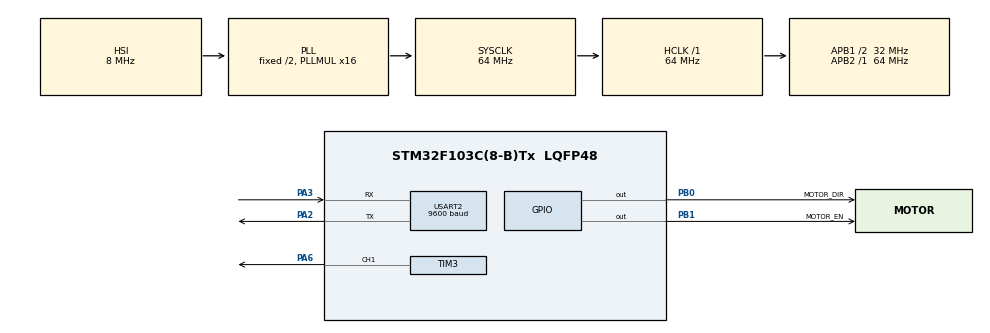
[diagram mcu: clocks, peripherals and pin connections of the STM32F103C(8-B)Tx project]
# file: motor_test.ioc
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Mcu.Family=STM32F1
Mcu.Name=STM32F103C(8-B)Tx
Mcu.Package=LQFP48
NVIC.PriorityGroup=NVIC_PRIORITYGROUP_4
NVIC.TIM3_IRQn=true\:0\:0\:false\:false\:true\:true\:true\:true
NVIC.USART2_IRQn=true\:0\:0\:false\:false\:true\:true\:true\:true
PA13.Mode=Serial_Wire
PA13.Signal=SYS_JTMS-SWDIO
PA14.Mode=Serial_Wire
PA14.Signal=SYS_JTCK-SWCLK
PA2.Mode=Asynchronous
PA2.Signal=USART2_TX
PA3.Mode=Asynchronous
PA3.Signal=USART2_RX
PA6.Signal=S_TIM3_CH1
PB0.GPIO_Label=MOTOR_DIR
PB0.Signal=GPIO_Output
PB1.GPIO_Label=MOTOR_EN
PB1.PinState=GPIO_PIN_SET
PB1.Signal=GPIO_Output
ProjectManager.HeapSize=0x200
ProjectManager.StackSize=0x400
ProjectManager.TargetToolchain=MDK-ARM V5
RCC.AHBFreq_Value=64000000
RCC.APB1CLKDivider=RCC_HCLK_DIV2
RCC.APB1Freq_Value=32000000
RCC.APB1TimFreq_Value=64000000
RCC.APB2Freq_Value=64000000
RCC.APB2TimFreq_Value=64000000
RCC.HCLKFreq_Value=64000000
RCC.PLLMUL=RCC_PLL_MUL16
RCC.SYSCLKFreq_VALUE=64000000
RCC.SYSCLKSource=RCC_SYSCLKSOURCE_PLLCLK
RCC.USBFreq_Value=64000000
SH.S_TIM3_CH1.0=TIM3_CH1,PWM Generation1 CH1
TIM3.AutoReloadPreload=TIM_AUTORELOAD_PRELOAD_ENABLE
TIM3.Channel-PWM\ Generation1\ CH1=TIM_CHANNEL_1
TIM3.Period=1999
TIM3.Prescaler=63
TIM3.Pulse-PWM\ Generation1\ CH1=1000
USART2.BaudRate=9600
USART2.VirtualMode=VM_ASYNC
VP_TIM3_VS_ClockSourceINT.Mode=Internal
board=custom

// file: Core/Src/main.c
/* USER CODE BEGIN Header */
/**
  ******************************************************************************
  * @file           : main.c
  * @brief          : Main program body
  ******************************************************************************
  * @attention
  *
  * Copyright (c) 2026 STMicroelectronics.
  * All rights reserved.
  *
  * This software is licensed under terms that can be found in the LICENSE file
  * in the root directory of this software component.
  * If no LICENSE file comes with this software, it is provided AS-IS.
  *
  ******************************************************************************
  */
/* USER CODE END Header */
#include "main.h"
#include "tim.h"
#include "usart.h"
#include "gpio.h"

/* USER CODE BEGIN PD */

/* Most 42 mm stepper motors are 1.8 degrees: 200 full steps per revolution. */
#define MOTOR_FULL_STEPS_PER_REV      200U

/* This value must match the microstep setting in the X42_V1.3 driver menu. */
#define MOTOR_MICROSTEPS              16U
#define MOTOR_PULSES_PER_REV          (MOTOR_FULL_STEPS_PER_REV * MOTOR_MICROSTEPS)

/* COM is connected to 3.3 V, so EN is treated as active-low here. */
#define MOTOR_ENABLE_LEVEL            GPIO_PIN_RESET
#define MOTOR_DISABLE_LEVEL           GPIO_PIN_SET
#define MOTOR_DIRECTION_CW            GPIO_PIN_RESET
#define MOTOR_DIRECTION_CCW           GPIO_PIN_SET

/* Car -> gimbal frame: AA 55 02 command parked checksum. */
#define HC12_FRAME_HEADER_1            0xAAU
#define HC12_FRAME_HEADER_2            0x55U
#define HC12_FRAME_TYPE_CAR_STOPPED    0x02U
#define HC12_CAR_PARKED_FLAG           0x01U

/* USER CODE END PD */

/* USER CODE BEGIN PV */

static volatile uint32_t motor_pulses_remaining = 0U;
static volatile uint8_t motor_is_busy = 0U;

static volatile uint8_t hc12_rx_byte = 0U;
static volatile uint8_t hc12_rx_state = 0U;
static volatile uint8_t hc12_rx_command = 0U;
static volatile uint8_t hc12_rx_parked = 0U;

/* These counters can be watched in the debugger during radio testing. */
volatile uint32_t hc12_rx_byte_count = 0U;
volatile uint32_t hc12_valid_frame_count = 0U;
volatile uint32_t hc12_bad_frame_count = 0U;

/* Only the first valid parking event is executed. The car repeats its frame
 * ten times, so latching is required to prevent ten consecutive rotations. */
static volatile uint32_t gimbal_target_degrees = 0U;
static volatile uint8_t gimbal_start_pending = 0U;
static volatile uint8_t gimbal_command_latched = 0U;
volatile uint8_t gimbal_motion_complete = 0U;

/* USER CODE END PV */

void SystemClock_Config(void);
/* USER CODE BEGIN PFP */

static void Stepper_Enable(void);
static void Stepper_Disable(void);
static void Stepper_MoveDegrees(uint32_t degrees, GPIO_PinState direction);
static void HC12_ParseByte(uint8_t data);

/* USER CODE END PFP */

/* USER CODE BEGIN 0 */

static void Stepper_Enable(void)
{
  HAL_GPIO_WritePin(MOTOR_EN_GPIO_Port, MOTOR_EN_Pin, MOTOR_ENABLE_LEVEL);
}

static void Stepper_Disable(void)
{
  (void)HAL_TIM_PWM_Stop_IT(&htim3, TIM_CHANNEL_1);
  HAL_GPIO_WritePin(MOTOR_EN_GPIO_Port, MOTOR_EN_Pin, MOTOR_DISABLE_LEVEL);
}

static void Stepper_MoveDegrees(uint32_t degrees, GPIO_PinState direction)
{
  uint32_t pulse_count;

  if (degrees == 0U)
  {
    return;
  }

  /* Round to the nearest pulse instead of truncating the requested angle. */
  pulse_count = ((degrees * MOTOR_PULSES_PER_REV) + 180U) / 360U;
  if (pulse_count == 0U)
  {
    pulse_count = 1U;
  }

  HAL_GPIO_WritePin(MOTOR_DIR_GPIO_Port, MOTOR_DIR_Pin, direction);
  HAL_Delay(1U); /* Allow DIR to become stable before the first STP edge. */

  motor_pulses_remaining = pulse_count;
  motor_is_busy = 1U;

  __HAL_TIM_SET_COUNTER(&htim3, 0U);
  __HAL_TIM_CLEAR_FLAG(&htim3, TIM_FLAG_CC1 | TIM_FLAG_UPDATE);

  if (HAL_TIM_PWM_Start_IT(&htim3, TIM_CHANNEL_1) != HAL_OK)
  {
    motor_is_busy = 0U;
    Error_Handler();
  }

  /* The PWM interrupt stops TIM3 after the requested number of pulses. */
  while (motor_is_busy != 0U)
  {
  }
}

static void HC12_ParseByte(uint8_t data)
{
  uint8_t checksum;

  hc12_rx_byte_count++;

  switch (hc12_rx_state)
  {
    case 0U:
      if (data == HC12_FRAME_HEADER_1)
      {
        hc12_rx_state = 1U;
      }
      break;

    case 1U:
      if (data == HC12_FRAME_HEADER_2)
      {
        hc12_rx_state = 2U;
      }
      else if (data != HC12_FRAME_HEADER_1)
      {
        hc12_rx_state = 0U;
      }
      break;

    case 2U:
      if (data == HC12_FRAME_TYPE_CAR_STOPPED)
      {
        hc12_rx_state = 3U;
      }
      else if (data == HC12_FRAME_HEADER_1)
      {
        hc12_rx_state = 1U;
      }
      else
      {
        hc12_rx_state = 0U;
      }
      break;

    case 3U:
      hc12_rx_command = data;
      hc12_rx_state = 4U;
      break;

    case 4U:
      hc12_rx_parked = data;
      hc12_rx_state = 5U;
      break;

    case 5U:
      checksum = (uint8_t)(HC12_FRAME_HEADER_1 +
                           HC12_FRAME_HEADER_2 +
                           HC12_FRAME_TYPE_CAR_STOPPED +
                           hc12_rx_command +
                           hc12_rx_parked);

      if ((data == checksum) &&
          (hc12_rx_parked == HC12_CAR_PARKED_FLAG) &&
          (hc12_rx_command >= 1U) &&
          (hc12_rx_command <= 4U))
      {
        hc12_valid_frame_count++;

        if (gimbal_command_latched == 0U)
        {
          /* 1/2/3/4 map to 90/180/270/360 degrees. Command 4 therefore
           * produces a real full clockwise turn instead of zero movement. */
          gimbal_target_degrees = (uint32_t)hc12_rx_command * 90U;
          gimbal_command_latched = 1U;
          gimbal_start_pending = 1U;
        }
      }
      else
      {
        hc12_bad_frame_count++;
      }

      hc12_rx_state = (data == HC12_FRAME_HEADER_1) ? 1U : 0U;
      break;

    default:
      hc12_rx_state = 0U;
      break;
  }
}

void HAL_TIM_PWM_PulseFinishedCallback(TIM_HandleTypeDef *htim)
{
  if ((htim->Instance == TIM3) && (htim->Channel == HAL_TIM_ACTIVE_CHANNEL_1))
  {
    if (motor_pulses_remaining > 0U)
    {
      motor_pulses_remaining--;
    }

    if (motor_pulses_remaining == 0U)
    {
      (void)HAL_TIM_PWM_Stop_IT(&htim3, TIM_CHANNEL_1);
      motor_is_busy = 0U;
    }
  }
}

void HAL_UART_RxCpltCallback(UART_HandleTypeDef *huart)
{
  if (huart->Instance == USART2)
  {
    HC12_ParseByte((uint8_t)hc12_rx_byte);

    /* Receive one byte at a time so binary values such as 0x01-0x05 are
     * never treated as text control characters or frame delimiters. */
    (void)HAL_UART_Receive_IT(&huart2, (uint8_t *)&hc12_rx_byte, 1U);
  }
}

void HAL_UART_ErrorCallback(UART_HandleTypeDef *huart)
{
  if (huart->Instance == USART2)
  {
    hc12_rx_state = 0U;
    (void)HAL_UART_Receive_IT(&huart2, (uint8_t *)&hc12_rx_byte, 1U);
  }
}

/* USER CODE END 0 */

int main(void)
{

  /* USER CODE BEGIN 1 */

  uint32_t requested_degrees;

  /* USER CODE END 1 */

  /* MCU Configuration--------------------------------------------------------*/

  /* Reset of all peripherals, Initializes the Flash interface and the Systick. */
  HAL_Init();

  /* Configure the system clock */
  SystemClock_Config();

  /* Initialize all configured peripherals */
  MX_GPIO_Init();
  MX_TIM3_Init();
  MX_USART2_UART_Init();
  /* USER CODE BEGIN 2 */

  /* Stay still after power-on and begin listening to the HC-12 immediately. */
  Stepper_Disable();
  if (HAL_UART_Receive_IT(&huart2, (uint8_t *)&hc12_rx_byte, 1U) != HAL_OK)
  {
    Error_Handler();
  }

  /* Give the closed-loop driver time to finish its power-on initialization.
   * A frame received during this delay is retained and executed afterwards. */
  HAL_Delay(1000U);

  /* USER CODE END 2 */

  /* Infinite loop */
  while (1)
  {

    /* USER CODE BEGIN 3 */
    if (gimbal_start_pending != 0U)
    {
      requested_degrees = gimbal_target_degrees;
      gimbal_start_pending = 0U;

      Stepper_Enable();
      HAL_Delay(100U);
      Stepper_MoveDegrees(requested_degrees, MOTOR_DIRECTION_CW);
      Stepper_Disable();
      gimbal_motion_complete = 1U;
    }
  }
  /* USER CODE END 3 */
}

void SystemClock_Config(void)
{
  RCC_OscInitTypeDef RCC_OscInitStruct = {0};
  RCC_ClkInitTypeDef RCC_ClkInitStruct = {0};

  /** Initializes the RCC Oscillators according to the specified parameters
  * in the RCC_OscInitTypeDef structure.
  */
  RCC_OscInitStruct.OscillatorType = RCC_OSCILLATORTYPE_HSI;
  RCC_OscInitStruct.HSIState = RCC_HSI_ON;
  RCC_OscInitStruct.HSICalibrationValue = RCC_HSICALIBRATION_DEFAULT;
  RCC_OscInitStruct.PLL.PLLState = RCC_PLL_ON;
  RCC_OscInitStruct.PLL.PLLSource = RCC_PLLSOURCE_HSI_DIV2;
  RCC_OscInitStruct.PLL.PLLMUL = RCC_PLL_MUL16;
  if (HAL_RCC_OscConfig(&RCC_OscInitStruct) != HAL_OK)
  {
    Error_Handler();
  }

  /** Initializes the CPU, AHB and APB buses clocks
  */
  RCC_ClkInitStruct.ClockType = RCC_CLOCKTYPE_HCLK|RCC_CLOCKTYPE_SYSCLK
                              |RCC_CLOCKTYPE_PCLK1|RCC_CLOCKTYPE_PCLK2;
  RCC_ClkInitStruct.SYSCLKSource = RCC_SYSCLKSOURCE_PLLCLK;
  RCC_ClkInitStruct.AHBCLKDivider = RCC_SYSCLK_DIV1;
  RCC_ClkInitStruct.APB1CLKDivider = RCC_HCLK_DIV2;
  RCC_ClkInitStruct.APB2CLKDivider = RCC_HCLK_DIV1;

  if (HAL_RCC_ClockConfig(&RCC_ClkInitStruct, FLASH_LATENCY_2) != HAL_OK)
  {
    Error_Handler();
  }
}

void Error_Handler(void)
{
  __disable_irq();
  while (1)
  {
  }
}
